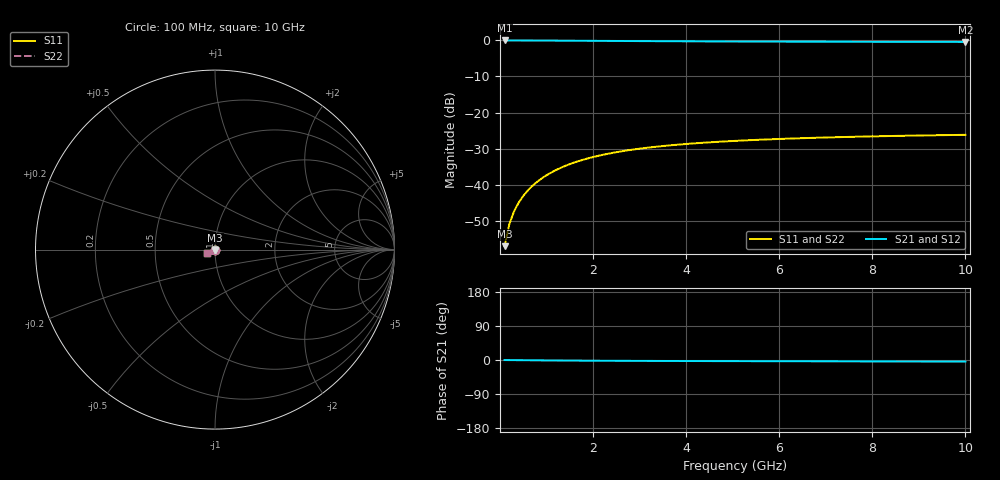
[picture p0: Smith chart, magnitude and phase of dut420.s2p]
! Touchstone file exported from HFSS 2024.1.0
!  File:  C:/UserFiles/LocalFiles/RDL_TSV_Batchsim/temp_TSV1_420_1779693325.aedt
!  Generated:  03:21:17 PM May 25, 2026
!  Design:  TSV1
!  Project:  temp_TSV1_420_1779693325
!  Setup:  Setup1
!  Solution:  Sweep
! Variables:
!  dtsv = 14.47um
!  hbump = 3um
!  htsv = 60.57um
!  lrdl = 252.1521522um
!  p = 40
!  p1 = 48.12um
!  t = 500um
!  trdl = 3um
!  wrdl = 24.89489489um
# GHz S MA R 50.000000
! Terminal data exported
! Port[1] = TSV22_T1
! Port[2] = TSV22_T2
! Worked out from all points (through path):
!   100 points, 100 MHz to 10 GHz, reference 50 ohm
!   highest |S21| = 0.00 dB at 100 MHz (marker M1); lowest = -0.4 dB at 10 GHz (marker M2)
!   lowest |S11| = -57.1 dB at 100 MHz (marker M3), VSWR 1.00, Z = 50 - j0.14 ohm
!   |S11| at or under -10 dB: start of sweep to end of sweep
!   |S22| runs from -57.1 to -26.2 dB; largest |S21 - S12| = 6.3e-15
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0.1  0.001397 -88.7  0.9999 -0.1  0.9999 -0.1  0.001397 -88.7
! Gamma 0 0 0 0
! Port Impedance 50 0 50 0
0.2  0.002806 -91.9  0.9998 -0.2  0.9998 -0.2  0.002806 -91.9
0.3  0.004203 -94.1  0.9995 -0.3  0.9995 -0.3  0.004203 -94.1
0.4  0.005588 -96.0  0.9992 -0.5  0.9992 -0.5  0.005588 -96.0
0.5  0.006957 -97.7  0.9989 -0.6  0.9989 -0.6  0.006957 -97.7
0.6  0.008308 -99.5  0.9984 -0.7  0.9984 -0.7  0.008308 -99.5
0.7  0.009636 -101.1  0.9979 -0.8  0.9979 -0.8  0.009636 -101.1
0.8  0.01094 -102.8  0.9973 -0.9  0.9973 -0.9  0.01094 -102.8
0.9  0.01222 -104.4  0.9967 -1.0  0.9967 -1.0  0.01222 -104.4
1.1  0.01468 -107.5  0.9953 -1.2  0.9953 -1.2  0.01468 -107.5
1.4  0.01812 -111.8  0.993 -1.4  0.993 -1.4  0.01812 -111.8
1.6  0.02025 -114.5  0.9913 -1.6  0.9913 -1.6  0.02025 -114.5
1.8  0.02223 -117.1  0.9896 -1.7  0.9896 -1.7  0.02223 -117.1
2.1  0.02495 -120.7  0.9871 -1.9  0.9871 -1.9  0.02495 -120.7
2.5  0.02813 -125.0  0.9837 -2.1  0.9837 -2.1  0.02813 -125.0
2.9  0.03086 -128.8  0.9806 -2.3  0.9806 -2.3  0.03086 -128.8
3.4  0.03374 -132.9  0.977 -2.5  0.977 -2.5  0.03374 -132.9
4.2  0.03741 -138.4  0.9721 -2.8  0.9721 -2.8  0.03741 -138.4
5.1  0.04053 -143.3  0.9675 -3.0  0.9675 -3.0  0.04053 -143.3
6.7  0.04444 -149.8  0.9615 -3.4  0.9615 -3.4  0.04444 -149.8
8.4  0.0472 -155.0  0.9571 -3.8  0.9571 -3.8  0.0472 -155.0
10  0.04899 -158.7  0.9541 -4.2  0.9541 -4.2  0.04899 -158.7
